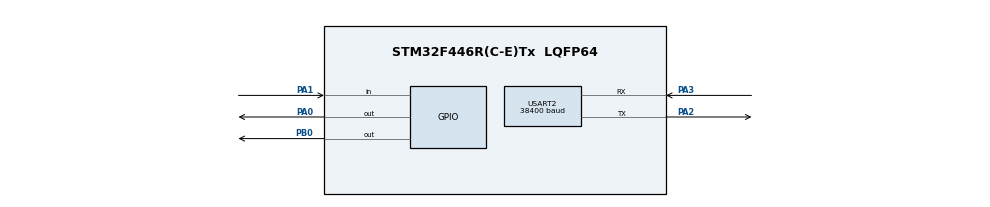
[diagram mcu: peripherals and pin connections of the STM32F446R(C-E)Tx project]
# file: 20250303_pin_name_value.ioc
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Mcu.Family=STM32F4
Mcu.Name=STM32F446R(C-E)Tx
Mcu.Package=LQFP64
NVIC.PriorityGroup=NVIC_PRIORITYGROUP_4
PA0-WKUP.Signal=GPIO_Output
PA1.Signal=GPIO_Input
PA2.Mode=Asynchronous
PA2.Signal=USART2_TX
PA3.Mode=Asynchronous
PA3.Signal=USART2_RX
PB0.Signal=GPIO_Output
ProjectManager.HeapSize=0x200
ProjectManager.StackSize=0x400
ProjectManager.TargetToolchain=STM32CubeIDE
RCC.CortexFreq_Value=16000000
RCC.USBFreq_Value=96000000
RCC.VCOOutputFreq_Value=192000000
USART2.BaudRate=38400
USART2.VirtualMode=VM_ASYNC
board=custom

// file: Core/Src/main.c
/* USER CODE BEGIN Header */
/**
  ******************************************************************************
  * @file           : main.c
  * @brief          : Main program body
  ******************************************************************************
  * @attention
  *
  * Copyright (c) 2025 STMicroelectronics.
  * All rights reserved.
  *
  * This software is licensed under terms that can be found in the LICENSE file
  * in the root directory of this software component.
  * If no LICENSE file comes with this software, it is provided AS-IS.
  *
  ******************************************************************************
  */
/* USER CODE END Header */
#include "main.h"

/* USER CODE BEGIN Includes */
#include <stdio.h>
#include "manydef.h"
/* USER CODE END Includes */

UART_HandleTypeDef huart2;

void SystemClock_Config(void);
static void MX_GPIO_Init(void);
static void MX_USART2_UART_Init(void);

int main(void)
{

  /* USER CODE BEGIN 1 */
setbuf(stdout,NULL);
  /* USER CODE END 1 */

  /* MCU Configuration--------------------------------------------------------*/

  /* Reset of all peripherals, Initializes the Flash interface and the Systick. */
  HAL_Init();

  /* Configure the system clock */
  SystemClock_Config();

  /* Initialize all configured peripherals */
  MX_GPIO_Init();
  MX_USART2_UART_Init();
  /* USER CODE BEGIN 2 */
//  GPIO_TypeDef* Group = GPIOA;
  GPIO_TypeDef* Group = PA;
//  uint16_t pin = 0x00000001;
  uint16_t pin = P0;
//  int status = 1;

  /* USER CODE END 2 */

  /* Infinite loop */
  while (1)
  {

    /* USER CODE BEGIN 3 */
	  if(HAL_GPIO_ReadPin(GPIOA, GPIO_PIN_1) == 1){
//		  Group = GPIOA;
		  Group = PA;
	  }else{
//		  Group = GPIOB;
		  Group = PB;
	  }
//	  HAL_GPIO_TogglePin(Group, pin);
//	  HAL_GPIO_WritePin(Group, pin, status);
//	  printf("%d %p\r\n",status,Group);
	  printf("%p\r\n",Group);
//	  HAL_Delay(500);
//	  status = !status;
	  Toggle(Group,pin,500);
  }
  /* USER CODE END 3 */
}

void SystemClock_Config(void)
{
  RCC_OscInitTypeDef RCC_OscInitStruct = {0};
  RCC_ClkInitTypeDef RCC_ClkInitStruct = {0};

  /** Configure the main internal regulator output voltage
  */
  __HAL_RCC_PWR_CLK_ENABLE();
  __HAL_PWR_VOLTAGESCALING_CONFIG(PWR_REGULATOR_VOLTAGE_SCALE3);

  /** Initializes the RCC Oscillators according to the specified parameters
  * in the RCC_OscInitTypeDef structure.
  */
  RCC_OscInitStruct.OscillatorType = RCC_OSCILLATORTYPE_HSI;
  RCC_OscInitStruct.HSIState = RCC_HSI_ON;
  RCC_OscInitStruct.HSICalibrationValue = RCC_HSICALIBRATION_DEFAULT;
  RCC_OscInitStruct.PLL.PLLState = RCC_PLL_NONE;
  if (HAL_RCC_OscConfig(&RCC_OscInitStruct) != HAL_OK)
  {
    Error_Handler();
  }

  /** Initializes the CPU, AHB and APB buses clocks
  */
  RCC_ClkInitStruct.ClockType = RCC_CLOCKTYPE_HCLK|RCC_CLOCKTYPE_SYSCLK
                              |RCC_CLOCKTYPE_PCLK1|RCC_CLOCKTYPE_PCLK2;
  RCC_ClkInitStruct.SYSCLKSource = RCC_SYSCLKSOURCE_HSI;
  RCC_ClkInitStruct.AHBCLKDivider = RCC_SYSCLK_DIV1;
  RCC_ClkInitStruct.APB1CLKDivider = RCC_HCLK_DIV1;
  RCC_ClkInitStruct.APB2CLKDivider = RCC_HCLK_DIV1;

  if (HAL_RCC_ClockConfig(&RCC_ClkInitStruct, FLASH_LATENCY_0) != HAL_OK)
  {
    Error_Handler();
  }
}

static void MX_USART2_UART_Init(void)
{

  huart2.Instance = USART2;
  huart2.Init.BaudRate = 38400;
  huart2.Init.WordLength = UART_WORDLENGTH_8B;
  huart2.Init.StopBits = UART_STOPBITS_1;
  huart2.Init.Parity = UART_PARITY_NONE;
  huart2.Init.Mode = UART_MODE_TX_RX;
  huart2.Init.HwFlowCtl = UART_HWCONTROL_NONE;
  huart2.Init.OverSampling = UART_OVERSAMPLING_16;
  if (HAL_UART_Init(&huart2) != HAL_OK)
  {
    Error_Handler();
  }

}

static void MX_GPIO_Init(void)
{
  GPIO_InitTypeDef GPIO_InitStruct = {0};

  /* GPIO Ports Clock Enable */
  __HAL_RCC_GPIOA_CLK_ENABLE();
  __HAL_RCC_GPIOB_CLK_ENABLE();

  /*Configure GPIO pin Output Level */
  HAL_GPIO_WritePin(GPIOA, GPIO_PIN_0, GPIO_PIN_RESET);

  /*Configure GPIO pin Output Level */
  HAL_GPIO_WritePin(GPIOB, GPIO_PIN_0, GPIO_PIN_RESET);

  /*Configure GPIO pin : PA0 */
  GPIO_InitStruct.Pin = GPIO_PIN_0;
  GPIO_InitStruct.Mode = GPIO_MODE_OUTPUT_PP;
  GPIO_InitStruct.Pull = GPIO_NOPULL;
  GPIO_InitStruct.Speed = GPIO_SPEED_FREQ_LOW;
  HAL_GPIO_Init(GPIOA, &GPIO_InitStruct);

  /*Configure GPIO pin : PA1 */
  GPIO_InitStruct.Pin = GPIO_PIN_1;
  GPIO_InitStruct.Mode = GPIO_MODE_INPUT;
  GPIO_InitStruct.Pull = GPIO_NOPULL;
  HAL_GPIO_Init(GPIOA, &GPIO_InitStruct);

  /*Configure GPIO pin : PB0 */
  GPIO_InitStruct.Pin = GPIO_PIN_0;
  GPIO_InitStruct.Mode = GPIO_MODE_OUTPUT_PP;
  GPIO_InitStruct.Pull = GPIO_NOPULL;
  GPIO_InitStruct.Speed = GPIO_SPEED_FREQ_LOW;
  HAL_GPIO_Init(GPIOB, &GPIO_InitStruct);

}

/* USER CODE BEGIN 4 */
int _write(int file,char *ptr,int len){
	HAL_UART_Transmit(&huart2, (uint8_t *)ptr, len, 10);
	return len;
}

void Toggle(GPIO_TypeDef* Group,uint16_t Pin,unsigned int delay){
	HAL_GPIO_TogglePin(Group, Pin);
	HAL_Delay(delay);
}
/* USER CODE END 4 */

void Error_Handler(void)
{
  __disable_irq();
  while (1)
  {
  }
}
